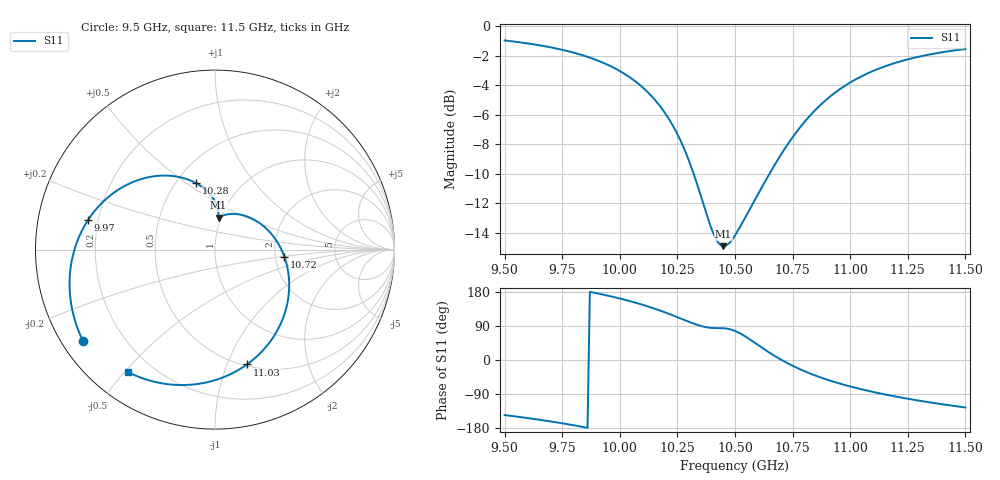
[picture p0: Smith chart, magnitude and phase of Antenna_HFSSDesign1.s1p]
! Touchstone file from project Antenna
! Exported from HFSS 15.0.3
! Variables:
!  D_patch = 9.16mm
!  L = 9.16mm
!  L_feed = 2mm
!  L_sub = 0.01832
!  T = 0.018mm
!  W = 9.16mm
!  W_50 = 1.57138mm
!  W_sub = 0.01832
!  er = 2.2
!  er_eff = 2.07
!  f0 = 10.5GHz
!  h = 20mil
!  lambda = 0.0285714285714286meter
!  pakh = 1.03mm
!  pakh2 = 0mm
!  r_g = 0.55mm
!  r_pad = 1.1mm
!  r_via = 0.15mm
# GHZ S MA R 50.000000
! Modal data exported
! Port[1] = 1:1
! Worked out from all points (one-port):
!   201 points, 9.5 GHz to 11.5 GHz, reference 50 ohm
!   lowest |S11| = -14.9 dB at 10.45 GHz (marker M1), VSWR 1.44, Z = 48.7 + j18 ohm
!   |S11| at or under -10 dB: 10.32 GHz to 10.65 GHz (329.2 MHz wide, 3.14 % of centre)
!   S11 on the Smith chart (normalised r, x): 9.5 GHz: 0.06, -0.31; 9.97 GHz: 0.16, +0.11; 10.28 GHz: 0.63, +0.55; 10.72 GHz: 2.25, -0.21; 11.03 GHz: 0.51, -1.18; 11.5 GHz: 0.11, -0.51
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9.5  0.8946 -145.2
! Gamma ! 0.101342411658822 271.285509408352
! Port Impedance 50 0
9.63  0.867 -155.8
9.75  0.8317 -167.0
9.87  0.7823 179.8
9.97  0.7255 166.7
10  0.7047 162.3
10.07  0.648 151.0
10.14  0.5772 137.8
10.2  0.5029 124.9
10.25  0.4306 113.0
10.28  0.3831 105.6
10.36  0.2537 88.4
10.41  0.1953 84.3
10.45  0.1797 83.8
10.5  0.1954 76.7
10.56  0.2365 56.2
10.61  0.2786 35.4
10.66  0.3264 15.3
10.72  0.3887 -5.9
10.75  0.4204 -15.3
10.8  0.4722 -29.2
10.86  0.5307 -43.5
11  0.6444 -69.8
11.03  0.6644 -74.5
11.13  0.721 -88.3
11.25  0.7719 -102.2
11.37  0.8087 -114.1
11.5  0.837 -125.3
